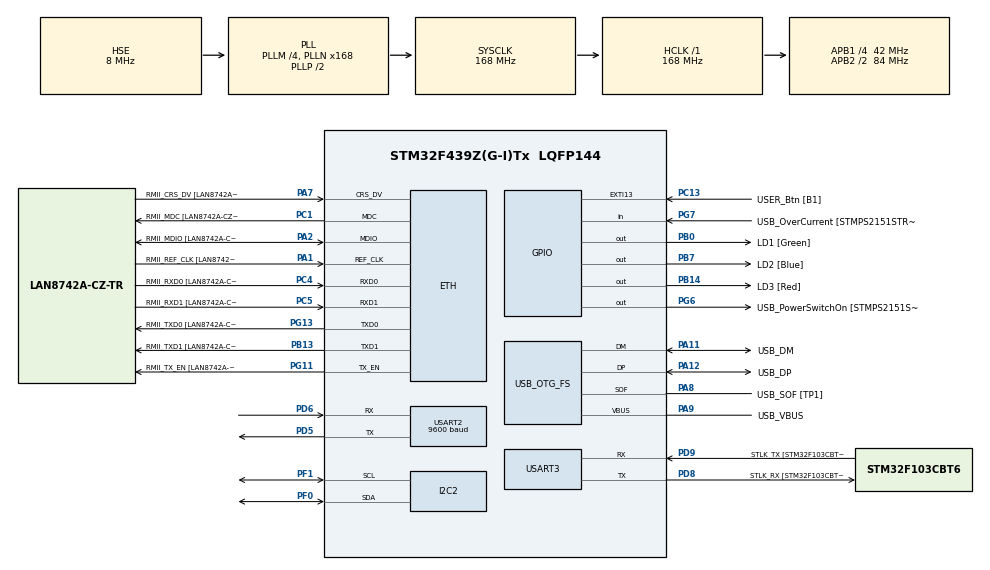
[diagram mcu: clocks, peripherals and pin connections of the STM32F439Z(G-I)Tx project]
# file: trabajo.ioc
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ETH.MediaInterface=HAL_ETH_RMII_MODE
ETH.PHY_Name=LAN8742A_PHY_ADDRESS
ETH.PHY_Value=0
ETH.PhyAddress=0
Mcu.Family=STM32F4
Mcu.Name=STM32F439Z(G-I)Tx
Mcu.Package=LQFP144
NVIC.PriorityGroup=NVIC_PRIORITYGROUP_4
PA1.GPIO_Label=RMII_REF_CLK [LAN8742A-CZ-TR_REFCLK0]
PA1.Mode=RMII
PA1.Signal=ETH_REF_CLK
PA10.GPIO_Label=USB_ID
PA10.Signal=USB_OTG_FS_ID
PA11.GPIO_Label=USB_DM
PA11.Mode=Device_Only
PA11.Signal=USB_OTG_FS_DM
PA12.GPIO_Label=USB_DP
PA12.Mode=Device_Only
PA12.Signal=USB_OTG_FS_DP
PA13.GPIO_Label=TMS
PA13.Mode=Serial_Wire
PA13.Signal=SYS_JTMS-SWDIO
PA14.GPIO_Label=TCK
PA14.Mode=Serial_Wire
PA14.Signal=SYS_JTCK-SWCLK
PA2.GPIO_Label=RMII_MDIO [LAN8742A-CZ-TR_MDIO]
PA2.Mode=RMII
PA2.Signal=ETH_MDIO
PA7.GPIO_Label=RMII_CRS_DV [LAN8742A-CZ-TR_CRS_DV]
PA7.Mode=RMII
PA7.Signal=ETH_CRS_DV
PA8.GPIO_Label=USB_SOF [TP1]
PA8.Mode=Activate_SOF_FS
PA8.Signal=USB_OTG_FS_SOF
PA9.GPIO_Label=USB_VBUS
PA9.Mode=Activate_VBUS
PA9.Signal=USB_OTG_FS_VBUS
PB0.GPIO_Label=LD1 [Green]
PB0.Signal=GPIO_Output
PB13.GPIO_Label=RMII_TXD1 [LAN8742A-CZ-TR_TXD1]
PB13.Mode=RMII
PB13.Signal=ETH_TXD1
PB14.GPIO_Label=LD3 [Red]
PB14.Signal=GPIO_Output
PB7.GPIO_Label=LD2 [Blue]
PB7.Signal=GPIO_Output
PC1.GPIO_Label=RMII_MDC [LAN8742A-CZ-TR_MDC]
PC1.Mode=RMII
PC1.Signal=ETH_MDC
PC13.GPIO_Label=USER_Btn [B1]
PC13.Signal=GPXTI13
PC14/OSC32_IN.Mode=LSE-External-Oscillator
PC14/OSC32_IN.Signal=RCC_OSC32_IN
PC15/OSC32_OUT.Mode=LSE-External-Oscillator
PC15/OSC32_OUT.Signal=RCC_OSC32_OUT
PC4.GPIO_Label=RMII_RXD0 [LAN8742A-CZ-TR_RXD0]
PC4.Mode=RMII
PC4.Signal=ETH_RXD0
PC5.GPIO_Label=RMII_RXD1 [LAN8742A-CZ-TR_RXD1]
PC5.Mode=RMII
PC5.Signal=ETH_RXD1
PD5.Mode=Asynchronous
PD5.Signal=USART2_TX
PD6.Mode=Asynchronous
PD6.Signal=USART2_RX
PD8.GPIO_Label=STLK_RX [STM32F103CBT6_PA3]
PD8.Mode=Asynchronous
PD8.Signal=USART3_TX
PD9.GPIO_Label=STLK_TX [STM32F103CBT6_PA2]
PD9.Mode=Asynchronous
PD9.Signal=USART3_RX
PF0.Mode=I2C
PF0.Signal=I2C2_SDA
PF1.Mode=I2C
PF1.Signal=I2C2_SCL
PG11.GPIO_Label=RMII_TX_EN [LAN8742A-CZ-TR_TXEN]
PG11.Mode=RMII
PG11.Signal=ETH_TX_EN
PG13.GPIO_Label=RMII_TXD0 [LAN8742A-CZ-TR_TXD0]
PG13.Mode=RMII
PG13.Signal=ETH_TXD0
PG6.GPIO_Label=USB_PowerSwitchOn [STMPS2151STR_EN]
PG6.Signal=GPIO_Output
PG7.GPIO_Label=USB_OverCurrent [STMPS2151STR_FAULT]
PG7.Signal=GPIO_Input
PH0/OSC_IN.GPIO_Label=MCO [STM32F103CBT6_PA8]
PH0/OSC_IN.Mode=HSE-External-Clock-Source
PH0/OSC_IN.Signal=RCC_OSC_IN
PH1/OSC_OUT.Mode=HSE-External-Clock-Source
PH1/OSC_OUT.Signal=RCC_OSC_OUT
ProjectManager.HeapSize=0x200
ProjectManager.StackSize=0x400
ProjectManager.TargetToolchain=STM32CubeIDE
RCC.48MHZClocksFreq_Value=48000000
RCC.AHBFreq_Value=168000000
RCC.APB1CLKDivider=RCC_HCLK_DIV4
RCC.APB1Freq_Value=42000000
RCC.APB1TimFreq_Value=84000000
RCC.APB2CLKDivider=RCC_HCLK_DIV2
RCC.APB2Freq_Value=84000000
RCC.APB2TimCLKDivider=2
RCC.APB2TimFreq_Value=168000000
RCC.CortexFreq_Value=168000000
RCC.HCLKFreq_Value=168000000
RCC.HSE_VALUE=8000000
RCC.HSI_VALUE=16000000
RCC.PLLM=4
RCC.PLLMUL=RCC_PLL_MUL9
RCC.PLLN=168
RCC.PLLQ=7
RCC.PRESCALERUSB=RCC_USBCLKSOURCE_PLL_DIV1_5
RCC.SYSCLKFreq_VALUE=168000000
RCC.SYSCLKSource=RCC_SYSCLKSOURCE_PLLCLK
RCC.SYSCLKSourceVirtual=RCC_SYSCLKSOURCE_PLLCLK
RCC.USBFreq_Value=48000000
RCC.VCOOutputFreq_Value=336000000
USART2.BaudRate=9600
USART2.VirtualMode=VM_ASYNC
USART3.VirtualMode=VM_ASYNC
USB_OTG_FS.VirtualMode=Device_Only
board=NUCLEO-F439ZI

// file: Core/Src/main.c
/* USER CODE BEGIN Header */
/**
  ******************************************************************************
  * @file           : main.c
  * @brief          : Main program body
  ******************************************************************************
  * @attention
  *
  * Copyright (c) 2023 STMicroelectronics.
  * All rights reserved.
  *
  * This software is licensed under terms that can be found in the LICENSE file
  * in the root directory of this software component.
  * If no LICENSE file comes with this software, it is provided AS-IS.
  *
  ******************************************************************************
  */
/* USER CODE END Header */
#include "main.h"
#include "string.h"
#include <stdint.h>
#include "API_lcd.h"
#include "API_delay.h"
#include "API_debounce.h"
#include "API_gps.h"
#include "API_i2c.h"

ETH_TxPacketConfig TxConfig;
ETH_DMADescTypeDef  DMARxDscrTab[ETH_RX_DESC_CNT]; /* Ethernet Rx DMA Descriptors */
ETH_DMADescTypeDef  DMATxDscrTab[ETH_TX_DESC_CNT]; /* Ethernet Tx DMA Descriptors */

ETH_HandleTypeDef heth;

I2C_HandleTypeDef hi2c2;

UART_HandleTypeDef huart2;
UART_HandleTypeDef huart3;

PCD_HandleTypeDef hpcd_USB_OTG_FS;

void SystemClock_Config(void);
static void MX_GPIO_Init(void);
static void MX_ETH_Init(void);
static void MX_USART3_UART_Init(void);
static void MX_USB_OTG_FS_PCD_Init(void);
static void MX_I2C2_Init(void);
static void MX_USART2_UART_Init(void);

int main(void)
{

	/* MCU Configuration--------------------------------------------------------*/

	/* Reset of all peripherals, Initializes the Flash interface and the Systick. */
	HAL_Init();

	/* Configure the system clock */
	SystemClock_Config();

	/* Initialize all configured peripherals */
	MX_GPIO_Init();
	MX_ETH_Init();
	MX_USART3_UART_Init();
	MX_USB_OTG_FS_PCD_Init();
	MX_I2C2_Init();
	MX_USART2_UART_Init();
	/* USER CODE BEGIN 2 */
	lcdInit ();
	debounceFSM_init();
	enum lcdScreen{gpsPos, gpsSat, gpsDat};
	enum lcdScreen gpsScreen = gpsPos;
	/* USER CODE END 2 */

	/* Infinite loop */
	/* USER CODE BEGIN WHILE */
	while (1)
	{
		debounceFSM_update();
		gpsUpdate();
  	  switch(gpsScreen){
  	  case gpsPos:
		  lcdLineOne();
		  lcdSendString(gpsLatitude(),LCD_LENGTH);
		  lcdLineTwo();
		  lcdSendString(gpsLongitude(),LCD_LENGTH);
  		  if (readKey()){
  			  gpsScreen = gpsSat;
  		  }
  		  break;
  	  case gpsSat:
		  lcdLineOne();
		  lcdSendString(gpsSatellites(),LCD_LENGTH);
		  lcdLineTwo();
		  lcdSendString(gpsError(),LCD_LENGTH);
  		  if (readKey()){
  			  gpsScreen = gpsDat;
  		  }
  		  break;
  	  case gpsDat:
		  lcdLineOne();
		  lcdSendString(gpsDate(),LCD_LENGTH);
		  lcdLineTwo();
		  lcdSendString(gpsTime(),LCD_LENGTH);
  		  if (readKey()){
  			  gpsScreen = gpsPos;
  		  }
  		  break;
  	  }

    /* USER CODE END WHILE */

  }
}

void SystemClock_Config(void)
{
  RCC_OscInitTypeDef RCC_OscInitStruct = {0};
  RCC_ClkInitTypeDef RCC_ClkInitStruct = {0};

  /** Configure the main internal regulator output voltage
  */
  __HAL_RCC_PWR_CLK_ENABLE();
  __HAL_PWR_VOLTAGESCALING_CONFIG(PWR_REGULATOR_VOLTAGE_SCALE1);

  /** Initializes the RCC Oscillators according to the specified parameters
  * in the RCC_OscInitTypeDef structure.
  */
  RCC_OscInitStruct.OscillatorType = RCC_OSCILLATORTYPE_HSE;
  RCC_OscInitStruct.HSEState = RCC_HSE_BYPASS;
  RCC_OscInitStruct.PLL.PLLState = RCC_PLL_ON;
  RCC_OscInitStruct.PLL.PLLSource = RCC_PLLSOURCE_HSE;
  RCC_OscInitStruct.PLL.PLLM = 4;
  RCC_OscInitStruct.PLL.PLLN = 168;
  RCC_OscInitStruct.PLL.PLLP = RCC_PLLP_DIV2;
  RCC_OscInitStruct.PLL.PLLQ = 7;
  if (HAL_RCC_OscConfig(&RCC_OscInitStruct) != HAL_OK)
  {
    Error_Handler();
  }

  /** Initializes the CPU, AHB and APB buses clocks
  */
  RCC_ClkInitStruct.ClockType = RCC_CLOCKTYPE_HCLK|RCC_CLOCKTYPE_SYSCLK
                              |RCC_CLOCKTYPE_PCLK1|RCC_CLOCKTYPE_PCLK2;
  RCC_ClkInitStruct.SYSCLKSource = RCC_SYSCLKSOURCE_PLLCLK;
  RCC_ClkInitStruct.AHBCLKDivider = RCC_SYSCLK_DIV1;
  RCC_ClkInitStruct.APB1CLKDivider = RCC_HCLK_DIV4;
  RCC_ClkInitStruct.APB2CLKDivider = RCC_HCLK_DIV2;

  if (HAL_RCC_ClockConfig(&RCC_ClkInitStruct, FLASH_LATENCY_5) != HAL_OK)
  {
    Error_Handler();
  }
}

static void MX_ETH_Init(void)
{

   static uint8_t MACAddr[6];

  heth.Instance = ETH;
  MACAddr[0] = 0x00;
  MACAddr[1] = 0x80;
  MACAddr[2] = 0xE1;
  MACAddr[3] = 0x00;
  MACAddr[4] = 0x00;
  MACAddr[5] = 0x00;
  heth.Init.MACAddr = &MACAddr[0];
  heth.Init.MediaInterface = HAL_ETH_RMII_MODE;
  heth.Init.TxDesc = DMATxDscrTab;
  heth.Init.RxDesc = DMARxDscrTab;
  heth.Init.RxBuffLen = 1524;

  if (HAL_ETH_Init(&heth) != HAL_OK)
  {
    Error_Handler();
  }

  memset(&TxConfig, 0 , sizeof(ETH_TxPacketConfig));
  TxConfig.Attributes = ETH_TX_PACKETS_FEATURES_CSUM | ETH_TX_PACKETS_FEATURES_CRCPAD;
  TxConfig.ChecksumCtrl = ETH_CHECKSUM_IPHDR_PAYLOAD_INSERT_PHDR_CALC;
  TxConfig.CRCPadCtrl = ETH_CRC_PAD_INSERT;

}

static void MX_I2C2_Init(void)
{

  hi2c2.Instance = I2C2;
  hi2c2.Init.ClockSpeed = 100000;
  hi2c2.Init.DutyCycle = I2C_DUTYCYCLE_2;
  hi2c2.Init.OwnAddress1 = 0;
  hi2c2.Init.AddressingMode = I2C_ADDRESSINGMODE_7BIT;
  hi2c2.Init.DualAddressMode = I2C_DUALADDRESS_DISABLE;
  hi2c2.Init.OwnAddress2 = 0;
  hi2c2.Init.GeneralCallMode = I2C_GENERALCALL_DISABLE;
  hi2c2.Init.NoStretchMode = I2C_NOSTRETCH_DISABLE;
  if (HAL_I2C_Init(&hi2c2) != HAL_OK)
  {
    Error_Handler();
  }

  /** Configure Analogue filter
  */
  if (HAL_I2CEx_ConfigAnalogFilter(&hi2c2, I2C_ANALOGFILTER_ENABLE) != HAL_OK)
  {
    Error_Handler();
  }

  /** Configure Digital filter
  */
  if (HAL_I2CEx_ConfigDigitalFilter(&hi2c2, 0) != HAL_OK)
  {
    Error_Handler();
  }

}

static void MX_USART2_UART_Init(void)
{

  huart2.Instance = USART2;
  huart2.Init.BaudRate = 9600;
  huart2.Init.WordLength = UART_WORDLENGTH_8B;
  huart2.Init.StopBits = UART_STOPBITS_1;
  huart2.Init.Parity = UART_PARITY_NONE;
  huart2.Init.Mode = UART_MODE_TX_RX;
  huart2.Init.HwFlowCtl = UART_HWCONTROL_NONE;
  huart2.Init.OverSampling = UART_OVERSAMPLING_16;
  if (HAL_UART_Init(&huart2) != HAL_OK)
  {
    Error_Handler();
  }

}

static void MX_USART3_UART_Init(void)
{

  huart3.Instance = USART3;
  huart3.Init.BaudRate = 115200;
  huart3.Init.WordLength = UART_WORDLENGTH_8B;
  huart3.Init.StopBits = UART_STOPBITS_1;
  huart3.Init.Parity = UART_PARITY_NONE;
  huart3.Init.Mode = UART_MODE_TX_RX;
  huart3.Init.HwFlowCtl = UART_HWCONTROL_NONE;
  huart3.Init.OverSampling = UART_OVERSAMPLING_16;
  if (HAL_UART_Init(&huart3) != HAL_OK)
  {
    Error_Handler();
  }

}

static void MX_USB_OTG_FS_PCD_Init(void)
{

  hpcd_USB_OTG_FS.Instance = USB_OTG_FS;
  hpcd_USB_OTG_FS.Init.dev_endpoints = 4;
  hpcd_USB_OTG_FS.Init.speed = PCD_SPEED_FULL;
  hpcd_USB_OTG_FS.Init.dma_enable = DISABLE;
  hpcd_USB_OTG_FS.Init.phy_itface = PCD_PHY_EMBEDDED;
  hpcd_USB_OTG_FS.Init.Sof_enable = ENABLE;
  hpcd_USB_OTG_FS.Init.low_power_enable = DISABLE;
  hpcd_USB_OTG_FS.Init.lpm_enable = DISABLE;
  hpcd_USB_OTG_FS.Init.vbus_sensing_enable = ENABLE;
  hpcd_USB_OTG_FS.Init.use_dedicated_ep1 = DISABLE;
  if (HAL_PCD_Init(&hpcd_USB_OTG_FS) != HAL_OK)
  {
    Error_Handler();
  }

}

static void MX_GPIO_Init(void)
{
  GPIO_InitTypeDef GPIO_InitStruct = {0};

  /* GPIO Ports Clock Enable */
  __HAL_RCC_GPIOC_CLK_ENABLE();
  __HAL_RCC_GPIOF_CLK_ENABLE();
  __HAL_RCC_GPIOH_CLK_ENABLE();
  __HAL_RCC_GPIOA_CLK_ENABLE();
  __HAL_RCC_GPIOB_CLK_ENABLE();
  __HAL_RCC_GPIOD_CLK_ENABLE();
  __HAL_RCC_GPIOG_CLK_ENABLE();

  /*Configure GPIO pin Output Level */
  HAL_GPIO_WritePin(GPIOB, LD1_Pin|LD3_Pin|LD2_Pin, GPIO_PIN_RESET);

  /*Configure GPIO pin Output Level */
  HAL_GPIO_WritePin(USB_PowerSwitchOn_GPIO_Port, USB_PowerSwitchOn_Pin, GPIO_PIN_RESET);

  /*Configure GPIO pin : USER_Btn_Pin */
  GPIO_InitStruct.Pin = USER_Btn_Pin;
  GPIO_InitStruct.Mode = GPIO_MODE_IT_RISING;
  GPIO_InitStruct.Pull = GPIO_NOPULL;
  HAL_GPIO_Init(USER_Btn_GPIO_Port, &GPIO_InitStruct);

  /*Configure GPIO pins : LD1_Pin LD3_Pin LD2_Pin */
  GPIO_InitStruct.Pin = LD1_Pin|LD3_Pin|LD2_Pin;
  GPIO_InitStruct.Mode = GPIO_MODE_OUTPUT_PP;
  GPIO_InitStruct.Pull = GPIO_NOPULL;
  GPIO_InitStruct.Speed = GPIO_SPEED_FREQ_LOW;
  HAL_GPIO_Init(GPIOB, &GPIO_InitStruct);

  /*Configure GPIO pin : USB_PowerSwitchOn_Pin */
  GPIO_InitStruct.Pin = USB_PowerSwitchOn_Pin;
  GPIO_InitStruct.Mode = GPIO_MODE_OUTPUT_PP;
  GPIO_InitStruct.Pull = GPIO_NOPULL;
  GPIO_InitStruct.Speed = GPIO_SPEED_FREQ_LOW;
  HAL_GPIO_Init(USB_PowerSwitchOn_GPIO_Port, &GPIO_InitStruct);

  /*Configure GPIO pin : USB_OverCurrent_Pin */
  GPIO_InitStruct.Pin = USB_OverCurrent_Pin;
  GPIO_InitStruct.Mode = GPIO_MODE_INPUT;
  GPIO_InitStruct.Pull = GPIO_NOPULL;
  HAL_GPIO_Init(USB_OverCurrent_GPIO_Port, &GPIO_InitStruct);

}

void Error_Handler(void)
{
  __disable_irq();
  while (1)
  {
  }
}
